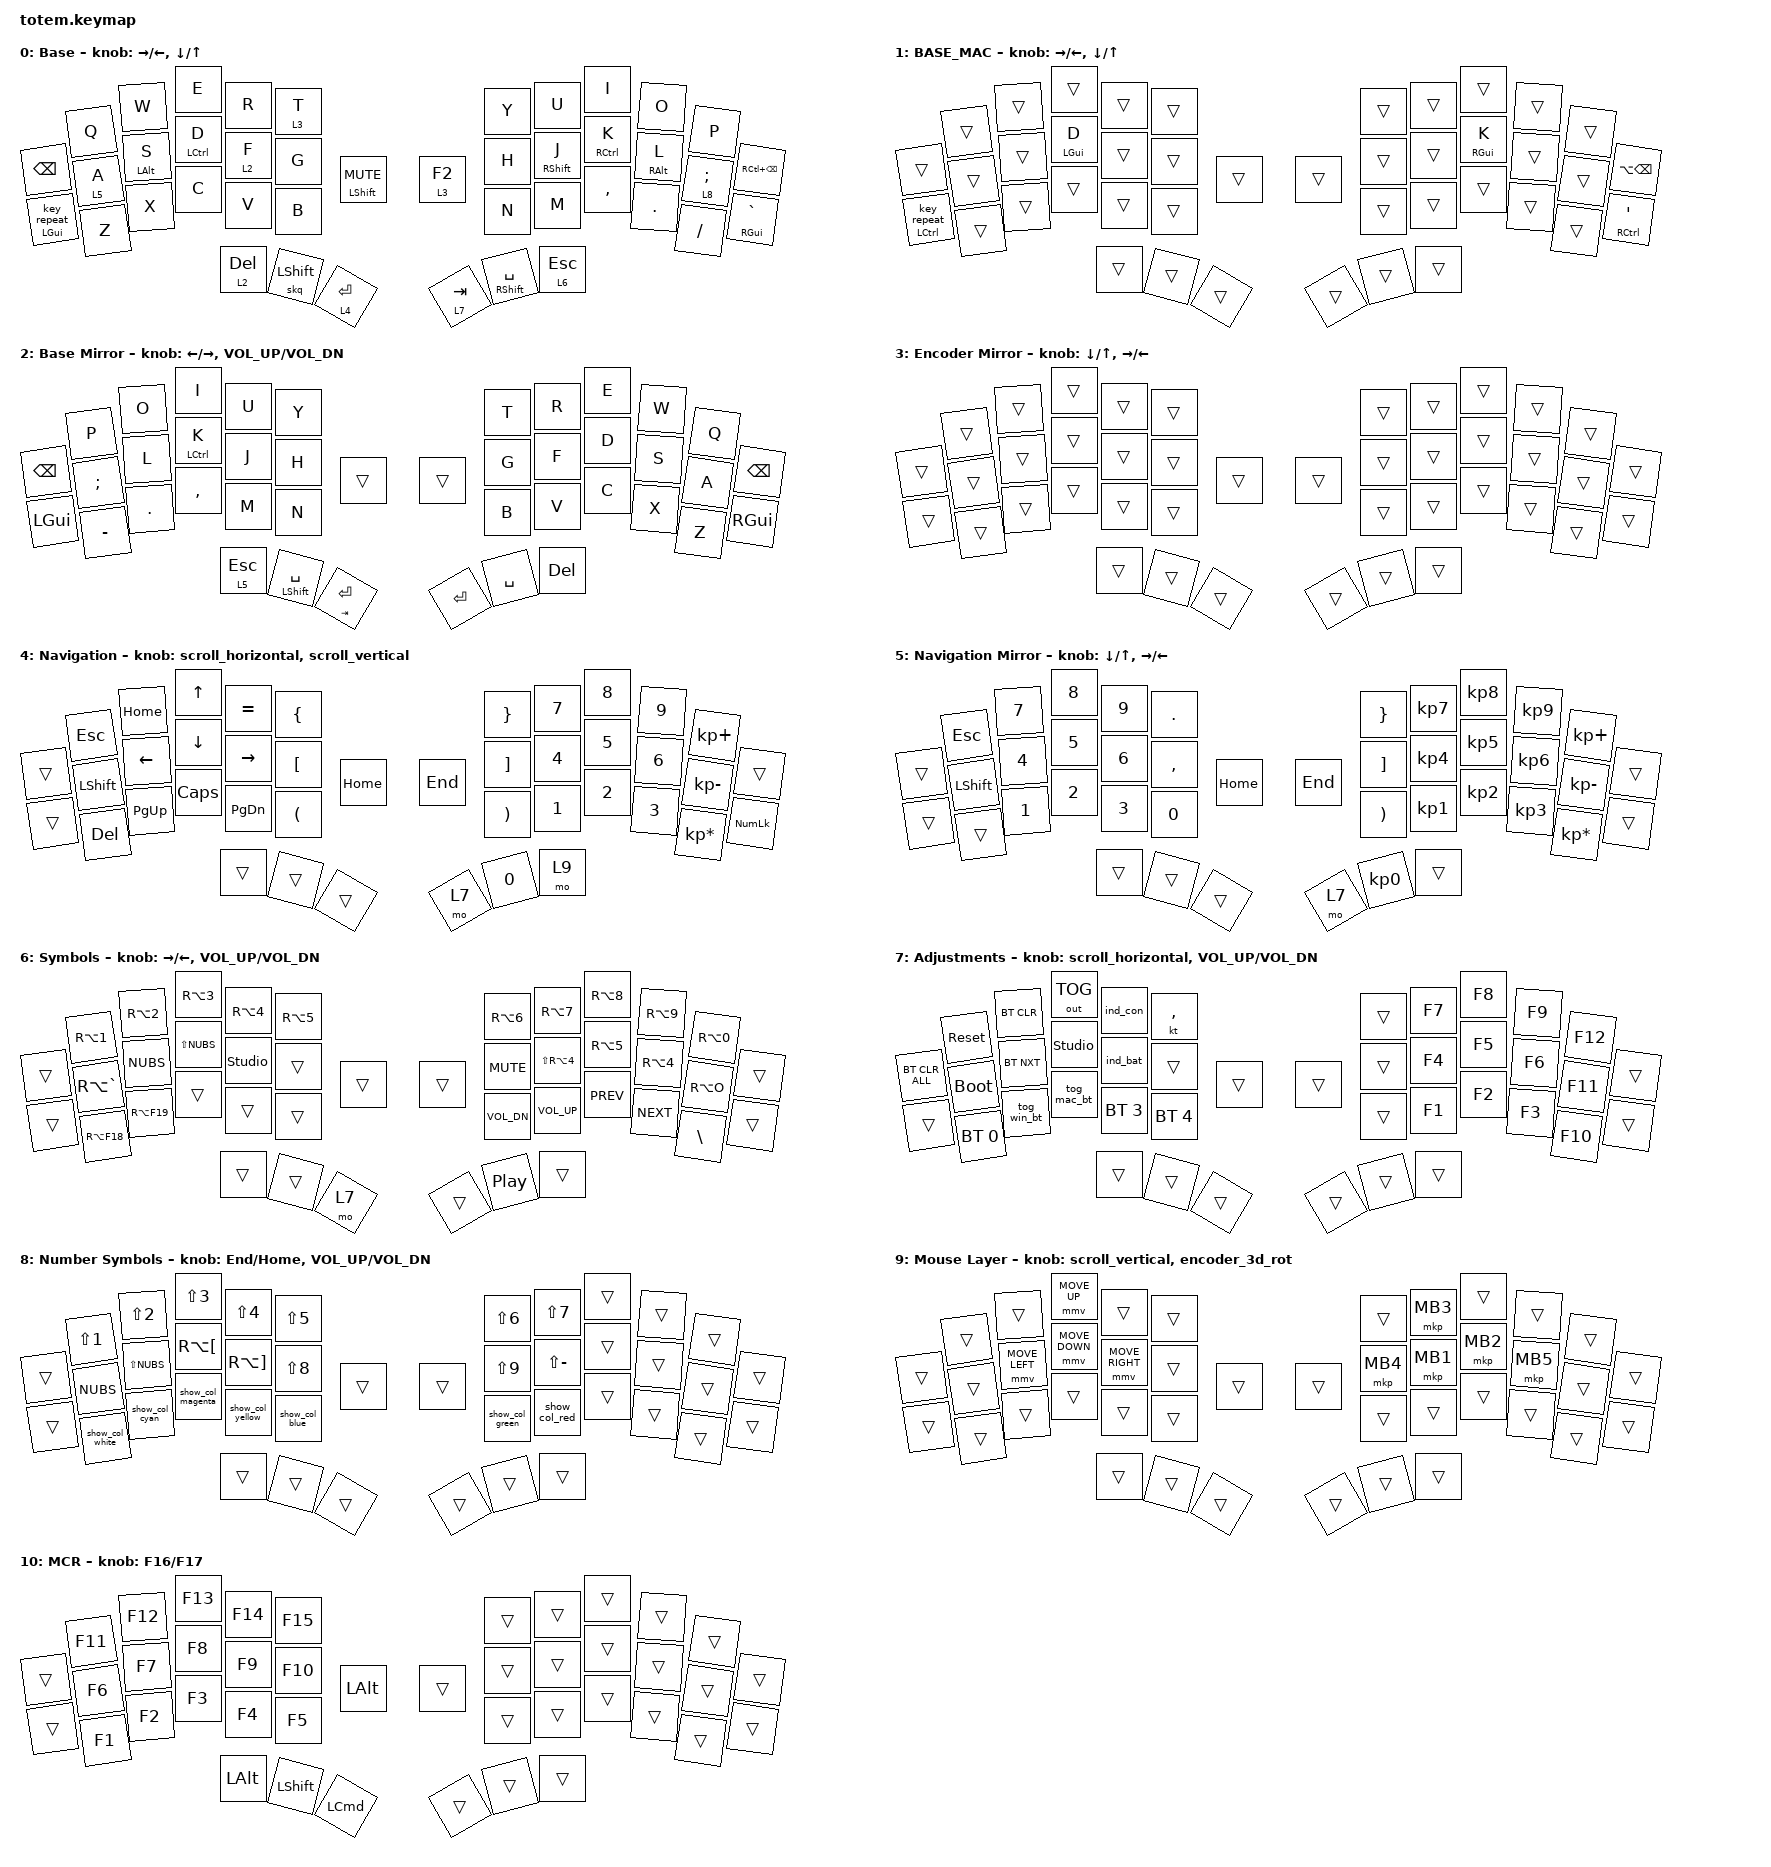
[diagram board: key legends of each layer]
//
//                                                        ▀▀▀▀▀     ▀▀▀▀▀          ▀▀█▀▀
//                                                        ▄▀▀▀▄  ▄  ▄▀▀▀▄  ▄  ▄▀▀▀▄  █  ▄▀▀▀▄
//                                                        █   █  █  █   █  █  █   █  █  █   █
//                                                         ▀▀▀   █   ▀▀▀   █   ▀▀▀   ▀   ▀▀▀
//                                                               █      ▄▄▄█▄▄▄    █   █  
//                                                               ▀      █  █  █     █▄█
//                                                             ▀▀▀▀▀    █  █  █      ▀
//                                                                      ▀  ▀  ▀
//
// ▄▄▄▄▄▄▄▄▄▄▄▄▄▄▄▄▄▄▄▄▄▄▄▄▄▄▄▄▄▄▄▄▄▄▄▄▄▄▄▄▄▄▄▄▄▄▄▄▄▄▄▄▄▄▄▄▄▄▄▄▄▄▄▄▄▄▄▄▄▄▄▄▄▄▄▄▄▄▄▄▄▄▄▄▄▄▄▄▄▄▄▄▄▄▄▄▄▄▄▄▄▄▄▄▄▄▄▄▄▄▄▄▄▄▄▄▄▄▄▄▄▄▄▄▄▄▄▄▄▄▄▄▄▄▄▄▄▄▄▄▄▄▄▄▄▄▄▄▄

#define ZMK_POINTING_DEFAULT_MOVE_VAL 1500  // default: 600
#define ZMK_POINTING_DEFAULT_SCRL_VAL 80  // default: 10

#include <behaviors/rgbled_widget.dtsi>
#include <behaviors.dtsi>
#include <dt-bindings/zmk/bt.h>
#include <dt-bindings/zmk/keys.h>
#include <dt-bindings/zmk/outputs.h>
#include <dt-bindings/zmk/pointing.h>

#define BASE 0
#define NAV  1
#define SYM  2
#define ADJ  3

&mt {
    quick-tap-ms = <150>;
    flavor = "balanced";
    tapping-term-ms = <200>;
    hold-trigger-on-release;
};

&lt {
    quick-tap-ms = <150>;
    tapping-term-ms = <200>;
};

/ {
    combos {
        compatible = "zmk,combos";

        combo_esc {
            timeout-ms = <50>;
            key-positions = <0 1>;
            bindings = <&kp ESC>;
        };

        combo_mirror {
            bindings = <&td_macropad>;
            key-positions = <26 25 24>;
        };

        combo_prntscr {
            bindings = <&kp PRINTSCREEN>;
            key-positions = <12 13 14>;
            layers = <0>;
        };

        combo_enc_mode {
            bindings = <&mo 3>;
            key-positions = <14 25>;
        };

        combo_base_mac {
            bindings = <&tog_mac>;
            key-positions = <11 12 13 14>;
            layers = <0>;
        };

        combo_base_win {
            bindings = <&tog_win>;
            key-positions = <11 12 13 14>;
            layers = <1>;
        };

        combo_pscrn_mac {
            bindings = <&mac_prnscr>;
            key-positions = <12 13 14>;
            layers = <1>;
        };

        combo_rmb_keyboard {
            bindings = <&mkp MB2>;
            key-positions = <18 19>;
        };

        combo_del {
            bindings = <&kp BACKSPACE>;
            key-positions = <10 0>;
        };

        combo_lspace {
            bindings = <&kp SPACE>;
            key-positions = <37 38>;
        };

        combo_lalt_2 {
            bindings = <&kp LALT>;
            key-positions = <24 12>;
        };

        combo_rtilde_2 {
            bindings = <&kp SQT>;
            key-positions = <7 18>;
        };

        combo_rapos_2 {
            bindings = <&kp MINUS>;
            key-positions = <6 17>;
        };

        combo_quotes {
            bindings = <&kp LS(NUMBER_2)>;
            key-positions = <1 12>;
        };

        combo_f2 {
            bindings = <&kp F2>;
            key-positions = <6 7 8>;
        };

        combo_add_rows {
            bindings = <&add_rows>;
            key-positions = <1 2 3>;
            layers = <0>;
        };

        combo_remove_rows {
            bindings = <&remove_rows>;
            key-positions = <1 2 3 37>;
            layers = <0>;
        };

        combo_backspace {
            bindings = <&kp BACKSPACE>;
            key-positions = <21 35>;
        };

        combo_asterisk {
            bindings = <&kp LS(RIGHT_BRACE)>;
            key-positions = <5 16>;
        };

        combo_backspace_l {
            bindings = <&kp LC(BACKSPACE)>;
            key-positions = <10 22>;
        };
    };

    behaviors {
        // Definimos nuestro encoder personalizado para scroll horizontal

        scroll_horizontal: scroll_horizontal {
            compatible = "zmk,behavior-sensor-rotate";
            #sensor-binding-cells = <0>;
            bindings = <&msc SCRL_RIGHT>, <&msc SCRL_LEFT>;

            tap-ms = <30>;
        };

        scroll_vertical: scroll_vertical {
            compatible = "zmk,behavior-sensor-rotate";
            #sensor-binding-cells = <0>;
            bindings = <&msc SCRL_DOWN>, <&msc SCRL_UP>;

            tap-ms = <30>;
        };

        sticky_tap_key: sticky_tap_key {
            compatible = "zmk,behavior-hold-tap";
            label = "STICKY_TAP_KEY";
            bindings = <&kp>, <&sk>;

            #binding-cells = <2>;
            tapping-term-ms = <200>;
            flavor = "tap-preferred";
        };

        kr_hold: kr_hold {
            compatible = "zmk,behavior-hold-tap";
            label = "KR_HOLD";
            bindings = <&kp>, <&key_repeat>;

            #binding-cells = <2>;
            tapping-term-ms = <200>;
        };

        encoder_mmvh: encoder_mmvh {
            compatible = "zmk,behavior-sensor-rotate-var";
            label = "ENCODER_MMVH";
            #sensor-binding-cells = <2>;
            bindings = <&mmv>, <&mmv>;
        };

        encoder_mmvv: encoder_mmvv {
            compatible = "zmk,behavior-sensor-rotate-var";
            label = "ENCODER_MMVV";
            #sensor-binding-cells = <2>;
            bindings = <&mmv>, <&mmv>;
        };

        encoder_3d_rot: encoder_3d_rot {
            compatible = "zmk,behavior-sensor-rotate";
            label = "ENCODER_3D_ROT";
            #sensor-binding-cells = <0>;
            bindings = <&rot_3d_r>, <&rot_3d_l>;
        };

        new_beha: new_beha {
            compatible = "zmk,behavior-tap-dance";
            label = "NEW_BEHA";
            #binding-cells = <0>;
            bindings = <&kp A>, <&kp A>;

            tapping-term-ms = <200>;
        };

        td_macropad: td_macropad {
            compatible = "zmk,behavior-tap-dance";
            label = "TD_MACROPAD";
            #binding-cells = <0>;
            bindings = <&tog 2>, <&tog 10>;

            tapping-term-ms = <200>;
        };

        td_std_rst: td_std_rst {
            compatible = "zmk,behavior-tap-dance";
            label = "TD_STD_RST";
            #binding-cells = <0>;
            bindings = <&mt LEFT_SHIFT C_MUTE>, <&to 1>;

            tapping-term-ms = <150>;
        };

        scrl_alt_h: scrl_alt_h {
            compatible = "zmk,behavior-sensor-rotate";
            #sensor-binding-cells = <0>;
            bindings = <&scrl_alt_inch>, <&scrl_alt_dech>;

            tap-ms = <30>;
            label = "SCRL_ALT_H";
        };

        skq: sticky-key-quick-release {
            compatible = "zmk,behavior-sticky-key";
            label = "Sticky Key Quick Release";
            bindings = <&kp>;
            #binding-cells = <1>;
            release-after-ms = <1000>;
            quick-release;
        };
    };

    macros {
        mac_prnscr: mac_prnscr {
            compatible = "zmk,behavior-macro";
            #binding-cells = <0>;
            bindings =
                <&macro_press>,
                <&kp LGUI &kp LSHFT>,
                <&macro_tap>,
                <&kp N5>,
                <&macro_release>,
                <&kp LGUI &kp LSHFT>;

            label = "MAC_PRNSCR";
        };

        tog_mac: tog_mac {
            compatible = "zmk,behavior-macro";
            #binding-cells = <0>;
            bindings = <&macro_tap>, <&to 1 &show_col_white>;

            label = "TOG_MAC";
        };

        tog_win: tog_win {
            compatible = "zmk,behavior-macro";
            #binding-cells = <0>;
            bindings = <&macro_tap>, <&to 0 &show_col_cyan>;

            label = "TOG_WIN";
        };

        tog_mac_bt: tog_mac_bt {
            compatible = "zmk,behavior-macro";
            #binding-cells = <0>;
            bindings = <&bt BT_SEL 2 &tog_mac>;
            label = "TOG_MAC_BT";
        };

        tog_win_bt: tog_win_bt {
            compatible = "zmk,behavior-macro";
            #binding-cells = <0>;
            bindings = <&bt BT_SEL 1 &tog_win>;
            label = "TOG_WIN_BT";
        };

        rot_3d_r: rot_3d_r {
            compatible = "zmk,behavior-macro";
            #binding-cells = <0>;
            bindings = <&mkp MB3 &mmv MOVE_RIGHT>;
            label = "ROT_3D_R";
        };

        rot_3d_l: rot_3d_l {
            compatible = "zmk,behavior-macro";
            #binding-cells = <0>;
            bindings = <&mkp MB3 &mmv MOVE_LEFT>;
            label = "ROT_3D_L";
        };

        add_rows: add_rows {
            compatible = "zmk,behavior-macro";
            #binding-cells = <0>;
            bindings = <&kp LALT &kp I &kp R>;
            label = "ADD_ROWS";
        };

        remove_rows: remove_rows {
            compatible = "zmk,behavior-macro";
            #binding-cells = <0>;
            bindings =
                <&macro_press>,
                <&kp LSHFT>,
                <&macro_tap>,
                <&kp SPACE>,
                <&macro_release>,
                <&kp LSHFT>,
                <&macro_press>,
                <&kp LCTRL>,
                <&macro_tap>,
                <&kp SLASH>,
                <&macro_release>,
                <&kp LCTRL>;

            label = "REMOVE_ROWS";
        };

        scrl_alt_dech: scrl_alt_dech {
            compatible = "zmk,behavior-macro";
            #binding-cells = <0>;
            bindings =
                <&macro_press>,
                <&kp LEFT_ALT>,
                <&macro_tap>,
                <&msc SCRL_DOWN>,
                <&macro_release>,
                <&kp LEFT_ALT>;

            label = "SCRL_ALT_DECH";
        };

        scrl_alt_inch: scrl_alt_inch {
            compatible = "zmk,behavior-macro";
            #binding-cells = <0>;
            bindings =
                <&macro_press>,
                <&kp LEFT_ALT>,
                <&macro_tap>,
                <&msc SCRL_UP>,
                <&macro_release>,
                <&kp LEFT_ALT>;

            label = "SCRL_ALT_INCH";
        };
    };

    keymap {
        compatible = "zmk,keymap";

        // ▄▄▄▄▄▄▄▄▄▄▄▄▄▄▄▄▄▄▄▄▄▄▄▄▄▄▄▄▄▄▄▄▄▄▄▄▄▄▄▄▄▄▄▄▄▄▄▄▄▄▄▄▄▄▄▄▄▄▄▄▄▄▄▄▄▄▄▄▄▄▄▄▄▄▄▄▄▄▄▄▄▄▄▄▄▄▄▄▄▄▄▄▄▄▄▄▄▄▄▄▄▄▄▄▄▄▄▄▄▄▄▄▄▄▄▄▄▄▄▄▄▄▄▄▄▄▄▄▄▄▄▄▄▄▄▄▄▄▄▄▄▄▄▄▄▄▄▄▄

        base_layer {
            // ┏━━━━━━━━━━━━━━━━━━━━━━━━━━━━━━━━━━━━━━━┓

            label = "BASE";

            // ┗━━━━━━━━━━━━━━━━━━━━━━━━━━━━━━━━━━━━━━━┛
            //             ┏━━━━━━━━━━━┳━━━━━━━━━━━┳━━━━━━━━━━━┳━━━━━━━━━━━┳━━━━━━━━━━━┓   ┏━━━━━━━━━━━┳━━━━━━━━━━━┳━━━━━━━━━━━┳━━━━━━━━━━━┳━━━━━━━━━━━┓
            //             ┃     Q     ┃     W     ┃     F     ┃     P     ┃     G     ┃   ┃     J     ┃     L     ┃     U     ┃     Y     ┃     ;     ┃
            //             ┣━━━━━━━━━━━╋━━━━━━━━━━━╋━━━━━━━━━━━╋━━━━━━━━━━━╋━━━━━━━━━━━┫   ┣━━━━━━━━━━━╋━━━━━━━━━━━╋━━━━━━━━━━━╋━━━━━━━━━━━╋━━━━━━━━━━━┫
            //             ┃     A     ┃     R     ┃     S     ┃     T     ┃     D     ┃   ┃     H     ┃     N     ┃     E     ┃     I     ┃     O     ┃
            // ┏━━━━━━━━━━━╋━━━━━━━━━━━╋━━━━━━━━━━━╋━━━━━━━━━━━╋━━━━━━━━━━━╋━━━━━━━━━━━┫   ┣━━━━━━━━━━━╋━━━━━━━━━━━╋━━━━━━━━━━━╋━━━━━━━━━━━╋━━━━━━━━━━━╋━━━━━━━━━━━┓
            // ┃           ┃     Z     ┃     X     ┃     C     ┃     V     ┃     B     ┃   ┃     K     ┃     M     ┃     ,     ┃     .     ┃     /     ┃           ┃
            // ┗━━━━━━━━━━━┻━━━━━━━━━━━┻━━━━━━━━━━━╋━━━━━━━━━━━╋━━━━━━━━━━━╋━━━━━━━━━━━┫   ┣━━━━━━━━━━━╋━━━━━━━━━━━╋━━━━━━━━━━━╋━━━━━━━━━━━┻━━━━━━━━━━━┻━━━━━━━━━━━┛
            //                                     ┃           ┃    TAB    ┃    SPC    ┃   ┃   ENTER   ┃   BSPC    ┃           ┃
            //                                     ┗━━━━━━━━━━━┻━━━━━━━━━━━┻━━━━━━━━━━━┛   ┗━━━━━━━━━━━┻━━━━━━━━━━━┻━━━━━━━━━━━┛
            //             | SW01  | SW02  | SW03  | SW04  | SW05  |                  | SW05  | SW04  | SW03  | SW02  | SW01  |
            //      | SW06 | SW07  | SW08  | SW09  | SW10  | SW11  |                  | SW11  | SW10  | SW09  | SW08  | SW07  | SW06  |
            //      | SW12 | SW13  | SW14  | SW15  | SW16  | SW17  | SW18  |  | SW18  | SW17  | SW16  | SW15  | SW14  | SW13  | SW12  |
            //                             | SW19  | SW20  | SW21  |                  | SW21  | SW20  | SW19  | 

            display-name = "Base";
            bindings = <
                     &kp Q    &kp W       &kp E        &kp R       &lt 3 T                                       &kp Y      &kp U            &kp I        &kp O       &kp P
&kp BSPC             &lt 5 A  &mt LALT S  &mt LCTRL D  &lt 2 F     &kp G                                         &kp H      &mt RSHFT J      &mt RCTRL K  &mt RALT L  &lt 8 SEMICOLON  &kp RC(BSPC)
&kr_hold LEFT_GUI 0  &kp Z    &kp X       &kp C        &kp V       &kp B        &mt LEFT_SHIFT C_MUTE  &lt 3 F2  &kp N      &kp M            &kp COMMA    &kp DOT     &kp FSLH         &mt RGUI GRAVE
                                          &lt 2 DEL    &skq LSHFT  &lt 4 ENTER                                   &lt 7 TAB  &mt RSHFT SPACE  &lt 6 ESC
            >;

            sensor-bindings = <&inc_dec_kp RIGHT LEFT>, <&inc_dec_kp DOWN UP>;
        };

        base_mac_layer {
            label = "BASE_MAC";
            display-name = "BASE_MAC";
            bindings = <
                  &trans  &trans  &trans      &trans  &trans                  &trans  &trans  &trans      &trans  &trans
&trans            &trans  &trans  &mt LGUI D  &trans  &trans                  &trans  &trans  &mt RGUI K  &trans  &trans  &kp LA(BACKSPACE)
&kr_hold LCTRL 0  &trans  &trans  &trans      &trans  &trans  &trans  &trans  &trans  &trans  &trans      &trans  &trans  &mt RCTRL SQT
                                  &trans      &trans  &trans                  &trans  &trans  &trans
            >;

            sensor-bindings = <&inc_dec_kp RIGHT LEFT>, <&inc_dec_kp DOWN UP>;
        };

        base_mirror_layer {
            // ┏━━━━━━━━━━━━━━━━━━━━━━━━━━━━━━━━━━━━━━━┓

            label = "BASE_M";

            // ┗━━━━━━━━━━━━━━━━━━━━━━━━━━━━━━━━━━━━━━━┛
            //             ┏━━━━━━━━━━━┳━━━━━━━━━━━┳━━━━━━━━━━━┳━━━━━━━━━━━┳━━━━━━━━━━━┓   ┏━━━━━━━━━━━┳━━━━━━━━━━━┳━━━━━━━━━━━┳━━━━━━━━━━━┳━━━━━━━━━━━┓
            //             ┃     Q     ┃     W     ┃     F     ┃     P     ┃     G     ┃   ┃     J     ┃     L     ┃     U     ┃     Y     ┃     ;     ┃
            //             ┣━━━━━━━━━━━╋━━━━━━━━━━━╋━━━━━━━━━━━╋━━━━━━━━━━━╋━━━━━━━━━━━┫   ┣━━━━━━━━━━━╋━━━━━━━━━━━╋━━━━━━━━━━━╋━━━━━━━━━━━╋━━━━━━━━━━━┫
            //             ┃     A     ┃     R     ┃     S     ┃     T     ┃     D     ┃   ┃     H     ┃     N     ┃     E     ┃     I     ┃     O     ┃
            // ┏━━━━━━━━━━━╋━━━━━━━━━━━╋━━━━━━━━━━━╋━━━━━━━━━━━╋━━━━━━━━━━━╋━━━━━━━━━━━┫   ┣━━━━━━━━━━━╋━━━━━━━━━━━╋━━━━━━━━━━━╋━━━━━━━━━━━╋━━━━━━━━━━━╋━━━━━━━━━━━┓
            // ┃           ┃     Z     ┃     X     ┃     C     ┃     V     ┃     B     ┃   ┃     K     ┃     M     ┃     ,     ┃     .     ┃     /     ┃           ┃
            // ┗━━━━━━━━━━━┻━━━━━━━━━━━┻━━━━━━━━━━━╋━━━━━━━━━━━╋━━━━━━━━━━━╋━━━━━━━━━━━┫   ┣━━━━━━━━━━━╋━━━━━━━━━━━╋━━━━━━━━━━━╋━━━━━━━━━━━┻━━━━━━━━━━━┻━━━━━━━━━━━┛
            //                                     ┃           ┃    TAB    ┃    SPC    ┃   ┃   ENTER   ┃   BSPC    ┃           ┃
            //                                     ┗━━━━━━━━━━━┻━━━━━━━━━━━┻━━━━━━━━━━━┛   ┗━━━━━━━━━━━┻━━━━━━━━━━━┻━━━━━━━━━━━┛
            //             | SW01  | SW02  | SW03  | SW04  | SW05  |                  | SW05  | SW04  | SW03  | SW02  | SW01  |
            //      | SW06 | SW07  | SW08  | SW09  | SW10  | SW11  |                  | SW11  | SW10  | SW09  | SW08  | SW07  | SW06  |
            //      | SW12 | SW13  | SW14  | SW15  | SW16  | SW17  | SW18  |  | SW18  | SW17  | SW16  | SW15  | SW14  | SW13  | SW12  |
            //                             | SW19  | SW20  | SW21  |                  | SW21  | SW20  | SW19  | 

            display-name = "Base Mirror";
            bindings = <
          &kp P      &kp O    &kp I         &kp U            &kp Y                          &kp T    &kp R      &kp E    &kp W  &kp Q
&kp BSPC  &kp SEMI   &kp L    &mt LCTRL K   &kp J            &kp H                          &kp G    &kp F      &kp D    &kp S  &kp A  &kp BSPC
&kp LGUI  &kp MINUS  &kp DOT  &kp COMMA     &kp M            &kp N          &trans  &trans  &kp B    &kp V      &kp C    &kp X  &kp Z  &kp RGUI
                              &lt 5 ESCAPE  &mt LSHFT SPACE  &mt TAB ENTER                  &kp RET  &kp SPACE  &kp DEL
            >;

            sensor-bindings =
                <&inc_dec_kp LEFT RIGHT>,
                <&inc_dec_kp C_VOL_UP C_VOL_DN>;
        };

        ENC_MIRR {
            bindings = <
        &trans  &trans  &trans  &trans  &trans                  &trans  &trans  &trans  &trans  &trans
&trans  &trans  &trans  &trans  &trans  &trans                  &trans  &trans  &trans  &trans  &trans  &trans
&trans  &trans  &trans  &trans  &trans  &trans  &trans  &trans  &trans  &trans  &trans  &trans  &trans  &trans
                        &trans  &trans  &trans                  &trans  &trans  &trans
            >;

            sensor-bindings = <&inc_dec_kp DOWN UP>, <&inc_dec_kp RIGHT LEFT>;

            label = "Encoder Mirror";
        };

        nav_layer {
            // ┏━━━━━━━━━━━━━━━━━━━━━━━━━━━━━━━━━━━━━━━┓

            label = "NAVI";

            // ┗━━━━━━━━━━━━━━━━━━━━━━━━━━━━━━━━━━━━━━━┛
            //             ┏━━━━━━━━━━━┳━━━━━━━━━━━┳━━━━━━━━━━━┳━━━━━━━━━━━┳━━━━━━━━━━━┓   ┏━━━━━━━━━━━┳━━━━━━━━━━━┳━━━━━━━━━━━┳━━━━━━━━━━━┳━━━━━━━━━━━┓
            //             ┃           ┃           ┃     UP    ┃           ┃     {     ┃   ┃     }     ┃     7     ┃     8     ┃     9     ┃     +     ┃
            //             ┣━━━━━━━━━━━╋━━━━━━━━━━━╋━━━━━━━━━━━╋━━━━━━━━━━━╋━━━━━━━━━━━┫   ┣━━━━━━━━━━━╋━━━━━━━━━━━╋━━━━━━━━━━━╋━━━━━━━━━━━╋━━━━━━━━━━━┫
            //             ┃   SHIFT   ┃   LEFT    ┃    DOWN   ┃   RIGHT   ┃     [     ┃   ┃     ]     ┃     4     ┃     5     ┃     6     ┃     -     ┃
            // ┏━━━━━━━━━━━╋━━━━━━━━━━━╋━━━━━━━━━━━╋━━━━━━━━━━━╋━━━━━━━━━━━╋━━━━━━━━━━━┫   ┣━━━━━━━━━━━╋━━━━━━━━━━━╋━━━━━━━━━━━╋━━━━━━━━━━━╋━━━━━━━━━━━╋━━━━━━━━━━━┓
            // ┃           ┃           ┃   P UP    ┃  C LOCK   ┃  P DOWN   ┃     (     ┃   ┃     )     ┃     1     ┃     2     ┃     3     ┃     *     ┃           ┃
            // ┗━━━━━━━━━━━┻━━━━━━━━━━━┻━━━━━━━━━━━╋━━━━━━━━━━━╋━━━━━━━━━━━╋━━━━━━━━━━━┫   ┣━━━━━━━━━━━╋━━━━━━━━━━━╋━━━━━━━━━━━╋━━━━━━━━━━━┻━━━━━━━━━━━┻━━━━━━━━━━━┛
            //                                     ┃           ┃    TAB    ┃    SPC    ┃   ┃    DEL    ┃     0     ┃           ┃
            //                                     ┗━━━━━━━━━━━┻━━━━━━━━━━━┻━━━━━━━━━━━┛   ┗━━━━━━━━━━━┻━━━━━━━━━━━┻━━━━━━━━━━━┛

            display-name = "Navigation";
            bindings = <
        &kp ESC    &kp HOME   &kp UP    &kp EQUAL  &kp LBRC                     &kp RBRC  &kp N7  &kp N8  &kp N9  &kp KP_PLUS
&trans  &kp LSHFT  &kp LEFT   &kp DOWN  &kp RIGHT  &kp LBKT                     &kp RBKT  &kp N4  &kp N5  &kp N6  &kp KP_MINUS     &trans
&trans  &kp DEL    &kp PG_UP  &kp CAPS  &kp PG_DN  &kp LPAR  &kp HOME  &kp END  &kp RPAR  &kp N1  &kp N2  &kp N3  &kp KP_MULTIPLY  &kp KP_NUMLOCK
                              &trans    &trans     &trans                       &mo 7     &kp N0  &mo 9
            >;

            sensor-bindings = <&scroll_horizontal>, <&scroll_vertical>;
        };

        nav_mirror_layer {
            // ┏━━━━━━━━━━━━━━━━━━━━━━━━━━━━━━━━━━━━━━━┓

            label = "NAVI_M";

            // ┗━━━━━━━━━━━━━━━━━━━━━━━━━━━━━━━━━━━━━━━┛
            //             ┏━━━━━━━━━━━┳━━━━━━━━━━━┳━━━━━━━━━━━┳━━━━━━━━━━━┳━━━━━━━━━━━┓   ┏━━━━━━━━━━━┳━━━━━━━━━━━┳━━━━━━━━━━━┳━━━━━━━━━━━┳━━━━━━━━━━━┓
            //             ┃           ┃           ┃     UP    ┃           ┃     {     ┃   ┃     }     ┃     7     ┃     8     ┃     9     ┃     +     ┃
            //             ┣━━━━━━━━━━━╋━━━━━━━━━━━╋━━━━━━━━━━━╋━━━━━━━━━━━╋━━━━━━━━━━━┫   ┣━━━━━━━━━━━╋━━━━━━━━━━━╋━━━━━━━━━━━╋━━━━━━━━━━━╋━━━━━━━━━━━┫
            //             ┃   SHIFT   ┃   LEFT    ┃    DOWN   ┃   RIGHT   ┃     [     ┃   ┃     ]     ┃     4     ┃     5     ┃     6     ┃     -     ┃
            // ┏━━━━━━━━━━━╋━━━━━━━━━━━╋━━━━━━━━━━━╋━━━━━━━━━━━╋━━━━━━━━━━━╋━━━━━━━━━━━┫   ┣━━━━━━━━━━━╋━━━━━━━━━━━╋━━━━━━━━━━━╋━━━━━━━━━━━╋━━━━━━━━━━━╋━━━━━━━━━━━┓
            // ┃           ┃           ┃   P UP    ┃  C LOCK   ┃  P DOWN   ┃     (     ┃   ┃     )     ┃     1     ┃     2     ┃     3     ┃     *     ┃           ┃
            // ┗━━━━━━━━━━━┻━━━━━━━━━━━┻━━━━━━━━━━━╋━━━━━━━━━━━╋━━━━━━━━━━━╋━━━━━━━━━━━┫   ┣━━━━━━━━━━━╋━━━━━━━━━━━╋━━━━━━━━━━━╋━━━━━━━━━━━┻━━━━━━━━━━━┻━━━━━━━━━━━┛
            //                                     ┃           ┃    TAB    ┃    SPC    ┃   ┃    DEL    ┃     0     ┃           ┃
            //                                     ┗━━━━━━━━━━━┻━━━━━━━━━━━┻━━━━━━━━━━━┛   ┗━━━━━━━━━━━┻━━━━━━━━━━━┻━━━━━━━━━━━┛

            display-name = "Navigation Mirror";
            bindings = <
        &kp ESC    &kp N7  &kp N8  &kp N9  &kp PERIOD                     &kp RBRC  &kp KP_N7  &kp KP_N8  &kp KP_N9  &kp KP_PLUS
&trans  &kp LSHFT  &kp N4  &kp N5  &kp N6  &kp COMMA                      &kp RBKT  &kp KP_N4  &kp KP_N5  &kp KP_N6  &kp KP_MINUS     &trans
&trans  &trans     &kp N1  &kp N2  &kp N3  &kp N0      &kp HOME  &kp END  &kp RPAR  &kp KP_N1  &kp KP_N2  &kp KP_N3  &kp KP_MULTIPLY  &trans
                           &trans  &trans  &trans                         &mo 7     &kp KP_N0  &trans
            >;

            sensor-bindings =
                <&inc_dec_kp DOWN_ARROW UP_ARROW>,
                <&inc_dec_kp RIGHT LEFT>;
        };

        sim_layer {
            // ┏━━━━━━━━━━━━━━━━━━━━━━━━━━━━━━━━━━━━━━━┓

            label = "SYM";

            // ┗━━━━━━━━━━━━━━━━━━━━━━━━━━━━━━━━━━━━━━━┛
            //             ┏━━━━━━━━━━━┳━━━━━━━━━━━┳━━━━━━━━━━━┳━━━━━━━━━━━┳━━━━━━━━━━━┓   ┏━━━━━━━━━━━┳━━━━━━━━━━━┳━━━━━━━━━━━┳━━━━━━━━━━━┳━━━━━━━━━━━┓
            //             ┃     !     ┃     @     ┃     #     ┃     $     ┃     %     ┃   ┃     ˆ     ┃     &     ┃     Ü     ┃     '     ┃     "     ┃
            //             ┣━━━━━━━━━━━╋━━━━━━━━━━━╋━━━━━━━━━━━╋━━━━━━━━━━━╋━━━━━━━━━━━┫   ┣━━━━━━━━━━━╋━━━━━━━━━━━╋━━━━━━━━━━━╋━━━━━━━━━━━╋━━━━━━━━━━━┫
            //             ┃     Ä     ┃           ┃    SZ     ┃           ┃           ┃   ┃   MUTE    ┃   YEN     ┃   EURO    ┃  POUND    ┃     Ö     ┃
            // ┏━━━━━━━━━━━╋━━━━━━━━━━━╋━━━━━━━━━━━╋━━━━━━━━━━━╋━━━━━━━━━━━╋━━━━━━━━━━━┫   ┣━━━━━━━━━━━╋━━━━━━━━━━━╋━━━━━━━━━━━╋━━━━━━━━━━━╋━━━━━━━━━━━╋━━━━━━━━━━━┓
            // ┃           ┃  EMAIL1   ┃  EMAIL2   ┃           ┃           ┃           ┃   ┃   VOL-    ┃   VOL+    ┃   LAST    ┃   NEXT    ┃     \     ┃           ┃
            // ┗━━━━━━━━━━━┻━━━━━━━━━━━┻━━━━━━━━━━━╋━━━━━━━━━━━╋━━━━━━━━━━━╋━━━━━━━━━━━┫   ┣━━━━━━━━━━━╋━━━━━━━━━━━╋━━━━━━━━━━━╋━━━━━━━━━━━┻━━━━━━━━━━━┻━━━━━━━━━━━┛
            //                                     ┃           ┃    GIF    ┃    ADJ    ┃   ┃           ┃           ┃           ┃
            //                                     ┗━━━━━━━━━━━┻━━━━━━━━━━━┻━━━━━━━━━━━┛   ┗━━━━━━━━━━━┻━━━━━━━━━━━┻━━━━━━━━━━━┛

            display-name = "Symbols";
            bindings = <
        &kp RA(N1)     &kp RA(N2)   &kp RA(N3)    &kp RA(N4)      &kp RA(N5)                  &kp RA(N6)    &kp RA(N7)      &kp RA(N8)  &kp RA(N9)  &kp RA(N0)
&trans  &kp RA(GRAVE)  &kp NUBS     &kp LS(NUBS)  &studio_unlock  &trans                      &kp C_MUTE    &kp LS(RA(N4))  &kp RA(N5)  &kp RA(N4)  &kp RA(O)   &trans
&trans  &kp RA(F18)    &kp RA(F19)  &trans        &trans          &trans      &trans  &trans  &kp C_VOL_DN  &kp C_VOL_UP    &kp C_PREV  &kp C_NEXT  &kp BSLH    &trans
                                    &trans        &trans          &mo 7                       &trans        &kp C_PP        &trans
            >;

            sensor-bindings =
                <&inc_dec_kp RIGHT LEFT>,
                <&inc_dec_kp C_VOL_UP C_VOL_DN>;
        };

        adjust_layer {
            // ┏━━━━━━━━━━━━━━━━━━━━━━━━━━━━━━━━━━━━━━━┓

            label = "ADJ";

            // ┗━━━━━━━━━━━━━━━━━━━━━━━━━━━━━━━━━━━━━━━┛
            //             ┏━━━━━━━━━━━┳━━━━━━━━━━━┳━━━━━━━━━━━┳━━━━━━━━━━━┳━━━━━━━━━━━┓   ┏━━━━━━━━━━━┳━━━━━━━━━━━┳━━━━━━━━━━━┳━━━━━━━━━━━┳━━━━━━━━━━━┓
            //             ┃   RESET   ┃ BT CLEAR  ┃  OUT TOG  ┃           ┃           ┃   ┃           ┃    F7     ┃    F8     ┃    F9     ┃    F12    ┃
            //             ┣━━━━━━━━━━━╋━━━━━━━━━━━╋━━━━━━━━━━━╋━━━━━━━━━━━╋━━━━━━━━━━━┫   ┣━━━━━━━━━━━╋━━━━━━━━━━━╋━━━━━━━━━━━╋━━━━━━━━━━━╋━━━━━━━━━━━┫
            //             ┃ BOOTLOAD  ┃ BT NEXT   ┃           ┃           ┃           ┃   ┃           ┃    F4     ┃    F5     ┃    F6     ┃    F11    ┃
            // ┏━━━━━━━━━━━╋━━━━━━━━━━━╋━━━━━━━━━━━╋━━━━━━━━━━━╋━━━━━━━━━━━╋━━━━━━━━━━━┫   ┣━━━━━━━━━━━╋━━━━━━━━━━━╋━━━━━━━━━━━╋━━━━━━━━━━━╋━━━━━━━━━━━╋━━━━━━━━━━━┓
            // ┃           ┃           ┃ BT PREV   ┃           ┃           ┃           ┃   ┃           ┃    F1     ┃    F2     ┃    F3     ┃    F10    ┃           ┃
            // ┗━━━━━━━━━━━┻━━━━━━━━━━━┻━━━━━━━━━━━╋━━━━━━━━━━━╋━━━━━━━━━━━╋━━━━━━━━━━━┫   ┣━━━━━━━━━━━╋━━━━━━━━━━━╋━━━━━━━━━━━╋━━━━━━━━━━━┻━━━━━━━━━━━┻━━━━━━━━━━━┛
            //                                     ┃           ┃           ┃           ┃   ┃           ┃           ┃           ┃
            //                                     ┗━━━━━━━━━━━┻━━━━━━━━━━━┻━━━━━━━━━━━┛   ┗━━━━━━━━━━━┻━━━━━━━━━━━┻━━━━━━━━━━━┛

            display-name = "Adjustments";
            bindings = <
                &sys_reset    &bt BT_CLR   &out OUT_TOG    &ind_con      &kt COMMA                     &trans  &kp F7  &kp F8  &kp F9  &kp F12
&bt BT_CLR_ALL  &bootloader   &bt BT_NXT   &studio_unlock  &ind_bat      &trans                        &trans  &kp F4  &kp F5  &kp F6  &kp F11  &trans
&trans          &bt BT_SEL 0  &tog_win_bt  &tog_mac_bt     &bt BT_SEL 3  &bt BT_SEL 4  &trans  &trans  &trans  &kp F1  &kp F2  &kp F3  &kp F10  &trans
                                           &trans          &trans        &trans                        &trans  &trans  &trans
            >;

            sensor-bindings =
                <&scroll_horizontal>,
                <&inc_dec_kp C_VOL_UP C_VOL_DN>;
        };

        number_symbols_layer {
            label = "SYMN";
            display-name = "Number Symbols";
            bindings = <
        &kp LS(N1)       &kp LS(N2)      &kp LS(N3)            &kp LS(N4)             &kp LS(N5)                      &kp LS(N6)       &kp LS(N7)     &trans  &trans  &trans
&trans  &kp NUBS         &kp LS(NUBS)    &kp RA(LEFT_BRACKET)  &kp RA(RIGHT_BRACKET)  &kp LS(N8)                      &kp LS(N9)       &kp LS(MINUS)  &trans  &trans  &trans  &trans
&trans  &show_col_white  &show_col_cyan  &show_col_magenta     &show_col_yellow       &show_col_blue  &trans  &trans  &show_col_green  &show_col_red  &trans  &trans  &trans  &trans
                                         &trans                &trans                 &trans                          &trans           &trans         &trans
            >;

            sensor-bindings =
                <&inc_dec_kp END HOME>,
                <&inc_dec_kp C_VOL_UP C_VOL_DN>;
        };

        MMV {
            bindings = <
        &trans  &trans          &mmv MOVE_UP    &trans           &trans                  &trans    &mkp MB3  &trans    &trans    &trans
&trans  &trans  &mmv MOVE_LEFT  &mmv MOVE_DOWN  &mmv MOVE_RIGHT  &trans                  &mkp MB4  &mkp MB1  &mkp MB2  &mkp MB5  &trans  &trans
&trans  &trans  &trans          &trans          &trans           &trans  &trans  &trans  &trans    &trans    &trans    &trans    &trans  &trans
                                &trans          &trans           &trans                  &trans    &trans    &trans
            >;

            label = "Mouse Layer";
            sensor-bindings = <&scroll_vertical>, <&encoder_3d_rot>;
        };

        Macropad {
            bindings = <
        &kp F11  &kp F12  &kp F13       &kp F14         &kp F15                         &trans  &trans  &trans  &trans  &trans
&trans  &kp F6   &kp F7   &kp F8        &kp F9          &kp F10                         &trans  &trans  &trans  &trans  &trans  &trans
&trans  &kp F1   &kp F2   &kp F3        &kp F4          &kp F5    &kp LEFT_ALT  &trans  &trans  &trans  &trans  &trans  &trans  &trans
                          &kp LEFT_ALT  &kp LEFT_SHIFT  &kp LCMD                        &trans  &trans  &trans
            >;

            label = "MCR";
            sensor-bindings = <&inc_dec_kp F16 F17>;
        };

        extra1 { status = "reserved"; };

        extra2 { status = "reserved"; };

        extra3 { status = "reserved"; };

        extra4 { status = "reserved"; };
    };
};
